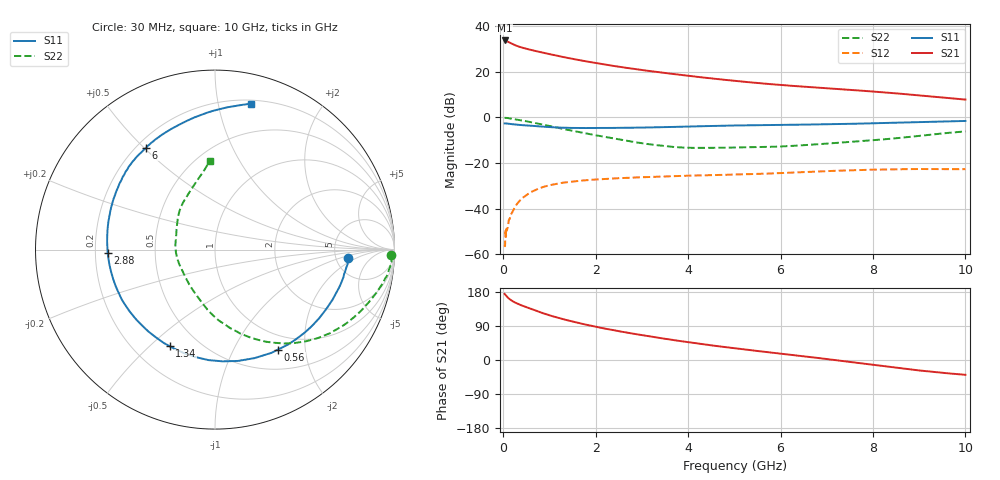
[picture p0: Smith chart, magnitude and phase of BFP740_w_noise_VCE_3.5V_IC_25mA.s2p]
! Infineon Technologies  Discrete & RF Semiconductors
! BFP740
! VCE =  3.5 V,  IC =  25 mA
! Common Emitter S-Parameters:  Jan 2016
# GHz  S  MA  R  50
!  f  S11  S21  S12  S22
! GHz  MAG  ANG  MAG  ANG  MAG  ANG  MAG  ANG
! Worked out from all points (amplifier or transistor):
!   229 points, 30 MHz to 10 GHz, reference 50 ohm
!   highest |S21| = 33.8 dB at 30 MHz (marker M1)
!   |S21| within 3 dB of that: start of sweep to 384.6 MHz
!   unconditionally stable (mu >= 1): 6.381 GHz to end of sweep
!   at 280 MHz: K = 0.26, MSG = 35.0 dB, |S12| = -38.5 dB
!   at 1.78 GHz: K = 0.47, MSG = 26.1 dB, |S12| = -27.6 dB
!   at 10 GHz: K = 1.00, MAG = 15.0 dB, |S12| = -22.7 dB
!   lowest NFmin = 0.78 dB at 450 MHz
!   S11 on the Smith chart (normalised r, x): 30 MHz: 6.50, -1.31; 560 MHz: 0.78, -1.53; 1.34 GHz: 0.35, -0.58; 2.88 GHz: 0.25, -0.01; 6 GHz: 0.24, +0.51; 10 GHz: 0.23, +1.25
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0.03  0.7427 -3.5  48.96 174.3  0.0016 72.6  0.9835 -1.8
0.06  0.7399 -7.2  47.93 169.8  0.0024 98.9  0.9815 -4.5
0.11  0.73 -13.3  45.49 163.4  0.0045 88.5  0.9678 -8.9
0.15  0.7211 -17.8  43.32 159.3  0.0068 83.1  0.9508 -11.7
0.2  0.7118 -23.1  40.8 155.3  0.0085 79.2  0.9314 -14.9
0.3  0.6952 -33.3  36.97 149.1  0.0128 73.8  0.8949 -20.7
0.36  0.6861 -39.2  35.26 145.9  0.0149 71.3  0.8741 -23.9
0.56  0.6585 -57.7  31.05 136.5  0.0217 62.7  0.8038 -34.2
0.8  0.6334 -78.3  27.26 125.9  0.0283 54.4  0.719 -45.3
0.98  0.6174 -91.9  24.84 118.8  0.032 48.6  0.6564 -52.8
1.16  0.6035 -104.2  22.69 112.2  0.035 44.1  0.5995 -59.4
1.34  0.5945 -115.2  20.79 106.3  0.0376 40.1  0.5492 -65.4
1.7  0.5866 -134.2  17.71 95.7  0.0412 34.3  0.4638 -76.2
2.2  0.5887 -155.5  14.5 82.9  0.0447 28.0  0.3745 -90.4
2.88  0.5981 -178.2  11.44 68.1  0.0483 22.2  0.2842 -109.0
3.4  0.6112 167.5  9.745 57.9  0.0505 18.6  0.2419 -126.2
4.3  0.6418 147.3  7.586 41.9  0.0535 14.0  0.2152 -158.5
5.1  0.6686 134.5  6.229 29.5  0.0563 10.7  0.2198 179.1
6  0.6853 124.0  5.172 16.8  0.0604 8.1  0.2309 159.5
6.8  0.7047 114.9  4.511 5.5  0.0651 4.1  0.2579 144.6
8.4  0.7648 93.1  3.447 -18.7  0.0728 -6.9  0.3423 116.1
10  0.8386 76.0  2.47 -39.1  0.0733 -16.6  0.4956 93.4
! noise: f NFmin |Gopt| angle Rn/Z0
0.45  0.78  0.07  178  0.26
0.9  0.79  0.08  -174  0.26
1.5  0.81  0.08  -169  0.25
1.9  0.82  0.09  -163  0.24
2.4  0.85  0.09  -156  0.23
3.5  0.95  0.1  -144  0.21
5.5  1.11  0.22  -105  0.19
10  1.46  0.52  -65  0.28
